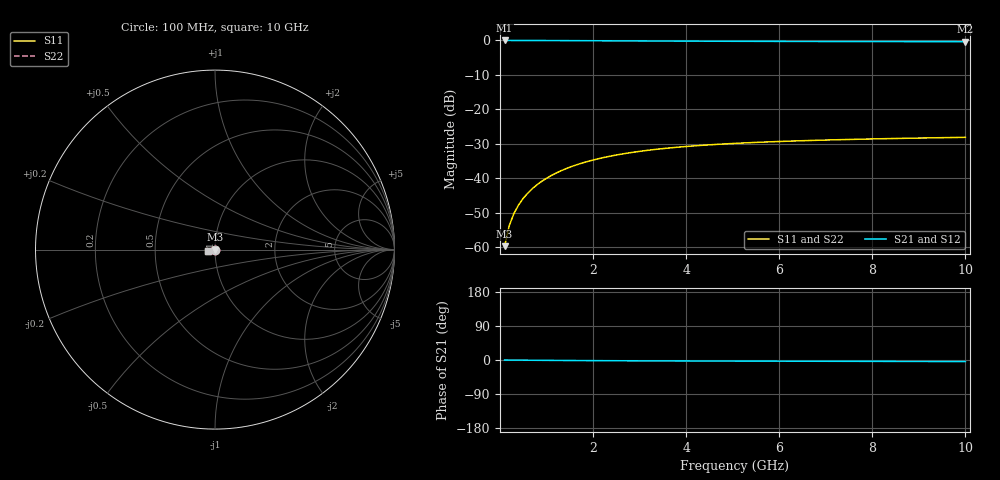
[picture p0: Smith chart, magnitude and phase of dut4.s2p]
! Touchstone file exported from HFSS 2024.1.0
!  File:  C:/UserFiles/LocalFiles/RDL_TSV_Batchsim/temp_TSV1_4_1779367696.aedt
!  Generated:  08:52:44 PM May 21, 2026
!  Design:  TSV1
!  Project:  temp_TSV1_4_1779367696
!  Setup:  Setup1
!  Solution:  Sweep
! Variables:
!  dtsv = 10.47um
!  hbump = 3um
!  htsv = 62.48um
!  lrdl = 252.1521522um
!  p = 40
!  p1 = 43.93um
!  t = 500um
!  trdl = 3um
!  wrdl = 24.89489489um
# GHz S MA R 50.000000
! Terminal data exported
! Port[1] = TSV22_T1
! Port[2] = TSV22_T2
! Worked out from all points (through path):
!   100 points, 100 MHz to 10 GHz, reference 50 ohm
!   highest |S21| = 0.00 dB at 100 MHz (marker M1); lowest = -0.4 dB at 10 GHz (marker M2)
!   lowest |S11| = -59.6 dB at 100 MHz (marker M3), VSWR 1.00, Z = 50 - j0.104 ohm
!   |S11| at or under -10 dB: start of sweep to end of sweep
!   |S22| runs from -59.6 to -28.1 dB; largest |S21 - S12| = 2.1e-15
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0.1  0.001042 -85.2  0.9999 -0.1  0.9999 -0.1  0.001042 -85.2
! Gamma 0 0 0 0
! Port Impedance 50 0 50 0
0.2  0.002073 -90.0  0.9998 -0.2  0.9998 -0.2  0.002073 -90.0
0.3  0.003102 -92.7  0.9996 -0.3  0.9996 -0.3  0.003102 -92.7
0.4  0.004125 -94.9  0.9994 -0.4  0.9994 -0.4  0.004125 -94.9
0.5  0.005142 -96.8  0.9991 -0.5  0.9991 -0.5  0.005142 -96.8
0.6  0.00615 -98.6  0.9988 -0.6  0.9988 -0.6  0.00615 -98.6
0.7  0.007146 -100.3  0.9984 -0.7  0.9984 -0.7  0.007146 -100.3
0.8  0.008129 -102.0  0.998 -0.8  0.998 -0.8  0.008129 -102.0
0.9  0.009099 -103.6  0.9975 -0.9  0.9975 -0.9  0.009099 -103.6
1.1  0.01099 -106.8  0.9964 -1.0  0.9964 -1.0  0.01099 -106.8
1.4  0.01368 -111.2  0.9946 -1.3  0.9946 -1.3  0.01368 -111.2
1.6  0.01537 -114.1  0.9933 -1.4  0.9933 -1.4  0.01537 -114.1
1.8  0.01697 -116.8  0.9919 -1.5  0.9919 -1.5  0.01697 -116.8
2.1  0.01919 -120.6  0.9898 -1.7  0.9898 -1.7  0.01919 -120.6
2.5  0.02184 -125.4  0.987 -2.0  0.987 -2.0  0.02184 -125.4
2.9  0.02415 -129.8  0.9842 -2.1  0.9842 -2.1  0.02415 -129.8
3.4  0.02661 -134.7  0.981 -2.4  0.981 -2.4  0.02661 -134.7
4.2  0.02972 -141.4  0.9765 -2.6  0.9765 -2.6  0.02972 -141.4
5.1  0.03233 -147.7  0.9722 -2.9  0.9722 -2.9  0.03233 -147.7
6.7  0.03553 -156.5  0.9667 -3.3  0.9667 -3.3  0.03553 -156.5
8.4  0.03782 -163.7  0.9628 -3.7  0.9628 -3.7  0.03782 -163.7
10  0.03941 -169.5  0.9602 -4.1  0.9602 -4.1  0.03941 -169.5
